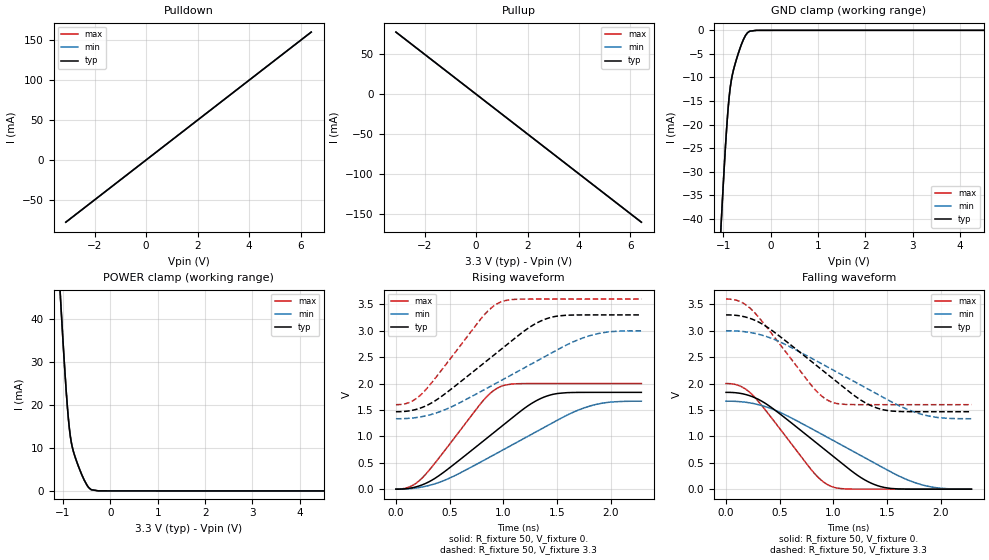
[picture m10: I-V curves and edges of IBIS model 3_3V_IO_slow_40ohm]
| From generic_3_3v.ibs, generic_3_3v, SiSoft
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[Model] 3_3V_IO_slow_40ohm
|SiSoft Include 3_3v.inc
Model_type I/O
|SiSoft Include 3_3v.inc
|C_comp_off 3.002p 2.502p 3.502p
|C_comp_on 3.002p 2.502p 3.502p
C_comp 3.002p 2.502p 3.502p
|SiSoft Rth_i 358.696K 375.001K 346.155K
|SiSoft Rth_r 40.003 40.003 40.003
|SiSoft Rth_f 39.997 39.997 39.997
Vinh = 2
Vinl = 0.8
Cref = 0
Vref = 1.65
Rref = 50
Vmeas = 1.65
|SiSoft spice_param TT Voh 3.3
|SiSoft spice_param SS Voh 3
|SiSoft spice_param FF Voh 3.6
|SiSoft spice_param ALL Vol 0
|SiSoft spice_param ALL R_SERIES 40
|SiSoft spice_param ALL RTERM_IN 1MEG
|SiSoft spice_param TT C_COMP 3pF
|SiSoft spice_param SS C_COMP 3.5pF
|SiSoft spice_param FF C_COMP 2.5pF
|SiSoft spice all testbed.mod tech_io_33
|SiSoft stimulus_rise_time 1.5n 2.0n 1.0n
[Temperature_Range] 25 100 0
[Voltage Range] 3.3 3. 3.6
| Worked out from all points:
|   slope of the pulldown table from 0 to 0.495 V, typ, clamps not added: 40 ohm
|   slope of the pullup table from 0 to 0.495 V, typ, clamps not added: 40 ohm
|   GND clamp passes 1 mA (typ) near -0.52 V on its own axis
|   POWER clamp passes 1 mA (typ) near -0.47 V on its own axis
|   rising waveform, R_fixture 50, V_fixture 0.: 20-80 % time 680ps typ, 905ps min, 455ps max; typ from 0 V to 1.83 V
|   rising waveform, R_fixture 50, V_fixture 3.3: 20-80 % time 680ps typ, 905ps min, 455ps max; typ from 1.47 V to 3.3 V
|   falling waveform, R_fixture 50, V_fixture 0.: 20-80 % time 680ps typ, 905ps min, 455ps max; typ from 1.83 V to 0 V
|   falling waveform, R_fixture 50, V_fixture 3.3: 20-80 % time 680ps typ, 905ps min, 455ps max; typ from 3.3 V to 1.47 V
[Pulldown]
-3.125V   -78.13mA   -78.13mA   -78.13mA
5.298V    132.4mA    132.4mA    132.4mA
6.127V    153.2mA    153.2mA    153.2mA
6.417V    160.4mA    160.4mA    160.4mA
[Pullup]
-3.117V   77.92mA    77.92mA    77.92mA
5.895V    -147.4mA   -147.4mA   -147.4mA
6.097V    -152.4mA   -152.4mA   -152.4mA
6.425V    -160.6mA   -160.6mA   -160.6mA
[GND Clamp]
-3.125V   -503.2mA   -503.2mA   -503.2mA
-1.044V   -41.05mA   -41.05mA   -41.05mA
-986.3mV  -30.27mA   -30.28mA   -30.27mA
-928.3mV  -20.76mA   -20.77mA   -20.76mA
-884.8mV  -15.16mA   -15.15mA   -15.16mA
-863mV    -13.01mA   -13.01mA   -13.01mA
-841.3mV  -11.35mA   -11.35mA   -11.35mA
-776mV    -8.106mA   -8.106mA   -8.106mA
-638.3mV  -3.594mA   -3.594mA   -3.595mA
-529.5mV  -1.074mA   -1.073mA   -1.078mA
-442.5mV  -197.9uA   -195.5uA   -199.7uA
6.417V    0A         0A         0A
[Power Clamp]
-3.125V   499.3mA    499.3mA    499.3mA
-1.055V   45.2mA     45.2mA     45.2mA
-976.4mV  30.5mA     30.5mA     30.5mA
-920.1mV  21.34mA    21.34mA    21.34mA
-875.1mV  15.51mA    15.51mA    15.51mA
-852.6mV  13.31mA    13.31mA    13.31mA
-830.1mV  11.63mA    11.63mA    11.64mA
-762.6mV  8.507mA    8.506mA    8.507mA
-616.4mV  4.105mA    4.105mA    4.106mA
-492.6mV  1.321mA    1.32mA     1.324mA
-402.6mV  287uA      284.8uA    288.5uA
6.425V    0A         0A         0A
[Ramp]
dV/dt_r 1.1/679.709p 1./905.587p 1.2/455.053p
dV/dt_f 1.1/679.707p 1./905.587p 1.2/455.056p
[Rising Waveform]
R_fixture = 50
V_fixture = 0.
0s        44.47uV    44.47uV    44.47uV
120ps     14.87mV    8.238mV    38.42mV
240ps     78.09mV    39.61mV    202.8mV
480ps     374.4mV    190.9mV    799.5mV
820ps     922.1mV    547.7mV    1.695V
980ps     1.183V     724.8mV    1.948V
1.26ns    1.619V     1.036V     2V
1.44ns    1.785V     1.236V     2V
1.865ns   1.833V     1.605V     2V
2.285ns   1.833V     1.666V     2V
[Rising Waveform]
R_fixture = 50
V_fixture = 3.3
V_fixture_min = 3.
V_fixture_max = 3.6
0s        1.467V     1.333V     1.6V
120ps     1.481V     1.341V     1.638V
240ps     1.545V     1.373V     1.803V
480ps     1.841V     1.524V     2.399V
820ps     2.389V     1.881V     3.295V
980ps     2.649V     2.058V     3.548V
1.26ns    3.086V     2.369V     3.6V
1.44ns    3.251V     2.569V     3.6V
1.865ns   3.3V       2.939V     3.6V
2.285ns   3.3V       2.999V     3.6V
[Falling Waveform]
R_fixture = 50
V_fixture = 0.
0s        1.833V     1.667V     2V
120ps     1.818V     1.658V     1.962V
240ps     1.755V     1.627V     1.797V
480ps     1.459V     1.476V     1.2V
820ps     911.2mV    1.119V     305.2mV
980ps     650.5mV    941.8mV    51.8mV
1.26ns    214mV      630.9mV    270.4uV
1.44ns    48.46mV    430.9mV    50.65uV
1.865ns   112.3uV    61.29mV    44.47uV
2.285ns   44.55uV    441.7uV    44.47uV
[Falling Waveform]
R_fixture = 50
V_fixture = 3.3
V_fixture_min = 3.
V_fixture_max = 3.6
0s        3.3V       3V         3.6V
120ps     3.285V     2.992V     3.561V
240ps     3.222V     2.96V      3.397V
480ps     2.925V     2.809V     2.8V
820ps     2.378V     2.452V     1.905V
980ps     2.117V     2.275V     1.652V
1.26ns    1.681V     1.964V     1.6V
1.44ns    1.515V     1.764V     1.6V
1.865ns   1.467V     1.395V     1.6V
2.285ns   1.467V     1.334V     1.6V
